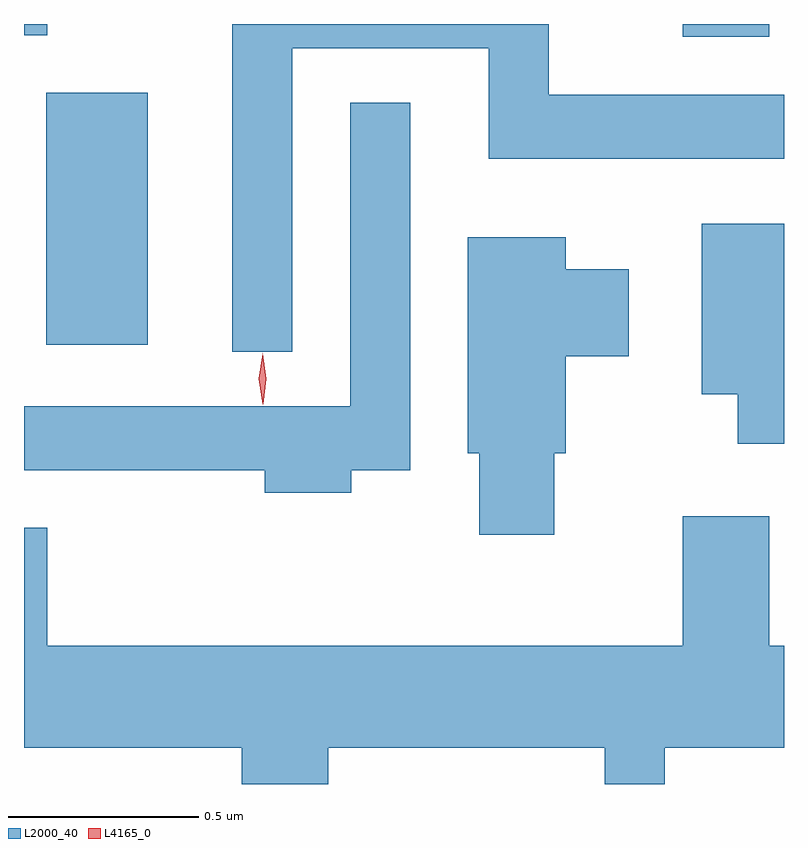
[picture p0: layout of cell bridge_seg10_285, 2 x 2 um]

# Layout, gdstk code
import gdstk
lib = gdstk.Library(unit=1e-6, precision=1e-09)
def R(c, l, rs):  # rectangles x0, y0, x1, y1
    for r in rs: c.add(gdstk.rectangle(r[:2], r[2:], *l))
def P(c, l, *ps):  # polygons
    for p in ps: c.add(gdstk.Polygon(p, *l))
L2000_40 = (2000, 40)
L4165_0 = (4165, 0)

bridge_seg10_285 = lib.new_cell('bridge_seg10_285')
R(bridge_seg10_285, L2000_40, [(1825.506,2099.436,1825.774,2100.099), (1827.181,2100.246,1827.409,2100.28), (1825.448,2100.251,1825.509,2100.28)])
P(bridge_seg10_285, L2000_40, [(1826.154,2100.216),(1826.671,2100.216),(1826.671,2099.926),(1827.448,2099.926),(1827.448,2100.094),(1826.829,2100.094),(1826.829,2100.28),(1825.996,2100.28),(1825.996,2099.418),(1826.154,2099.418)],
  [(1826.309,2099.106),(1826.464,2099.106),(1826.464,2100.073),(1826.306,2100.073),(1826.306,2099.274),(1825.448,2099.274),(1825.448,2099.106),(1826.081,2099.106),(1826.081,2099.046),(1826.309,2099.046)],
  [(1827.448,2099.754),(1827.231,2099.754),(1827.231,2099.306),(1827.326,2099.306),(1827.326,2099.176),(1827.448,2099.176)],
  [(1826.844,2099.151),(1826.874,2099.151),(1826.874,2099.406),(1827.039,2099.406),(1827.039,2099.634),(1826.874,2099.634),(1826.874,2099.719),(1826.616,2099.719),(1826.616,2099.151),(1826.646,2099.151),(1826.646,2098.936),(1826.844,2098.936)],
  [(1826.249,2098.376),(1826.976,2098.376),(1826.976,2098.28),(1827.134,2098.28),(1827.134,2098.376),(1827.448,2098.376),(1827.448,2098.644),(1827.409,2098.644),(1827.409,2098.984),(1827.181,2098.984),(1827.181,2098.644),(1825.509,2098.644),(1825.509,2098.954),(1825.448,2098.954),(1825.448,2098.376),(1826.021,2098.376),(1826.021,2098.28),(1826.249,2098.28)])
P(bridge_seg10_285, L4165_0, [(1826.076,2099.28),(1826.076,2099.28),(1826.066,2099.346),(1826.076,2099.412),(1826.076,2099.413),(1826.076,2099.412),(1826.086,2099.346),(1826.077,2099.28)])

lib.write_gds('bridge_seg10_285.gds')
